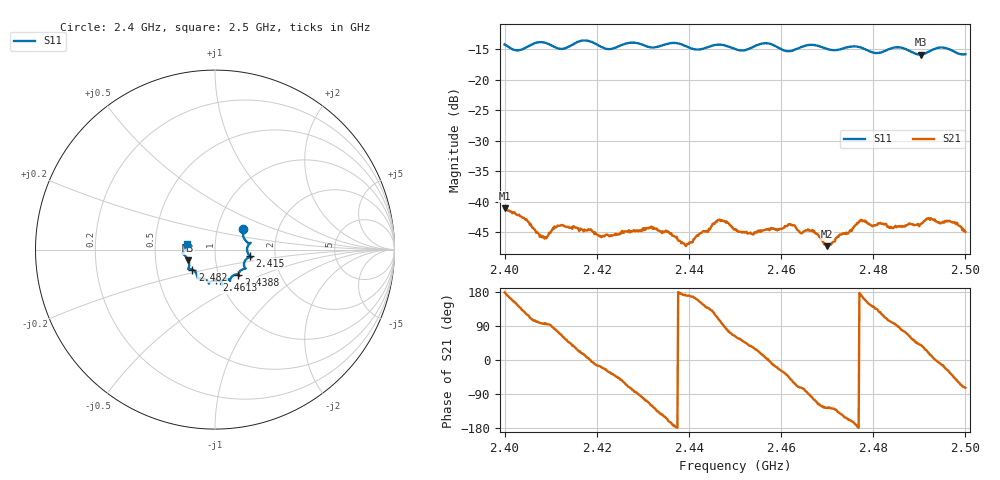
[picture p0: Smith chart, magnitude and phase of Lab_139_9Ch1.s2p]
# Hz S RI R 50
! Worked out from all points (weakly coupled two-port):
!   601 points, 2.4 GHz to 2.5 GHz, reference 50 ohm
!   highest |S21| = -41.09 dB at 2.4 GHz (marker M1); lowest = -47.3 dB at 2.47 GHz (marker M2)
!   lowest |S11| = -15.9 dB at 2.4903 GHz (marker M3), VSWR 1.38, Z = 36.8 - j4.44 ohm
!   |S11| at or under -10 dB: start of sweep to end of sweep
!   S12 and S22 are empty: the file has one direction only
!   S11 on the Smith chart (normalised r, x): 2.4 GHz: 1.33, +0.31; 2.415 GHz: 1.47, -0.11; 2.4388 GHz: 1.24, -0.36; 2.4613 GHz: 0.96, -0.34; 2.482 GHz: 0.76, -0.17; 2.5 GHz: 0.73, +0.05
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2.4e9  0.158 0.1127  -0.00882 0.000232  0 0  0 0
2.402833e9  0.1607 0.0655  -0.00632 0.00448  0 0  0 0
2.4085e9  0.1983 0.0377  -0.000581 0.00512  0 0  0 0
2.411333e9  0.1809 0.0157  0.00141 0.00609  0 0  0 0
2.415e9  0.1927 -0.036  0.00509 0.00371  0 0  0 0
2.416667e9  0.2039 -0.0441  0.00564 0.00186  0 0  0 0
2.421167e9  0.1771 -0.0506  0.0049 -0.0018  0 0  0 0
2.433333e9  0.1325 -0.1313  -0.00416 -0.00405  0 0  0 0
2.438833e9  0.1298 -0.1409  -0.0045 0.000683  0 0  0 0
2.446667e9  0.084 -0.1745  -0.00175 0.00691  0 0  0 0
2.45e9  0.0685 -0.1646  0.00271 0.00531  0 0  0 0
2.456833e9  0.0384 -0.195  0.00594 0.00046  0 0  0 0
2.461333e9  0.008 -0.1708  0.00486 -0.00404  0 0  0 0
2.466667e9  -0.0342 -0.1899  -0.000732 -0.00569  0 0  0 0
2.47e9  -0.0432 -0.1731  -0.00255 -0.00349  0 0  0 0
2.477333e9  -0.0972 -0.1554  -0.00704 0.000974  0 0  0 0
2.482e9  -0.1261 -0.112  -0.00318 0.0058  0 0  0 0
2.483333e9  -0.1398 -0.1089  -0.0015 0.00599  0 0  0 0
2.490333e9  -0.1496 -0.0589  0.0051 0.00418  0 0  0 0
2.492e9  -0.1652 -0.0358  0.00686 0.00229  0 0  0 0
2.4965e9  -0.1771 -0.0144  0.00595 -0.00365  0 0  0 0
2.5e9  -0.1584 0.0329  0.00162 -0.00543  0 0  0 0
